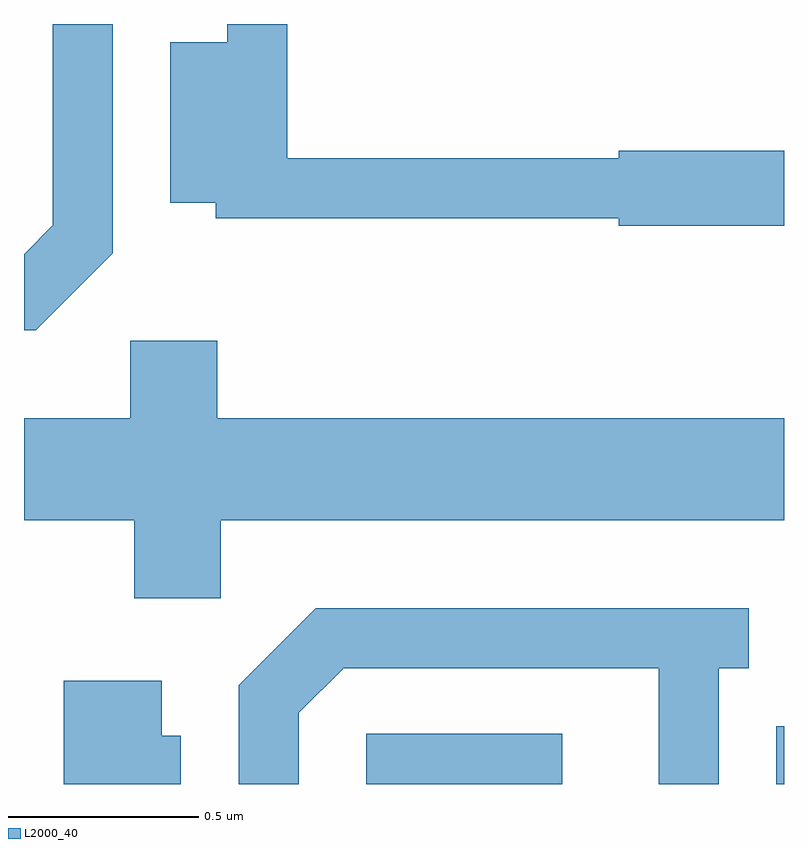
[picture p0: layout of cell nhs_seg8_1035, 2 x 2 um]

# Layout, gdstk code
import gdstk
lib = gdstk.Library(unit=1e-6, precision=1e-09)
def R(c, l, rs):  # rectangles x0, y0, x1, y1
    for r in rs: c.add(gdstk.rectangle(r[:2], r[2:], *l))
def P(c, l, *ps):  # polygons
    for p in ps: c.add(gdstk.Polygon(p, *l))
L2000_40 = (2000, 40)

nhs_seg8_1035 = lib.new_cell('nhs_seg8_1035')
R(nhs_seg8_1035, L2000_40, [(193.511,1882.342,194.028,1882.474), (194.591,1882.342,194.611,1882.494)])
P(nhs_seg8_1035, L2000_40, [(194.611,1884.009),(194.176,1884.009),(194.176,1883.989),(193.304,1883.989),(193.304,1884.342),(193.146,1884.342),(193.146,1884.294),(192.996,1884.294),(192.996,1883.871),(193.116,1883.871),(193.116,1883.831),(194.176,1883.831),(194.176,1883.811),(194.611,1883.811)],
  [(192.844,1883.739),(192.844,1884.342),(192.686,1884.342),(192.686,1883.812),(192.611,1883.736),(192.611,1883.536),(192.642,1883.536)],
  [(193.129,1883.036),(194.611,1883.036),(194.611,1883.304),(193.119,1883.304),(193.119,1883.509),(192.891,1883.509),(192.891,1883.304),(192.611,1883.304),(192.611,1883.036),(192.901,1883.036),(192.901,1882.831),(193.129,1882.831)],
  [(193.334,1882.529),(193.452,1882.646),(194.281,1882.646),(194.281,1882.342),(194.439,1882.342),(194.439,1882.646),(194.518,1882.646),(194.518,1882.804),(193.379,1882.804),(193.176,1882.602),(193.176,1882.342),(193.334,1882.342)],
  [(193.024,1882.469),(192.974,1882.469),(192.974,1882.614),(192.716,1882.614),(192.716,1882.342),(193.024,1882.342)])

lib.write_gds('nhs_seg8_1035.gds')
